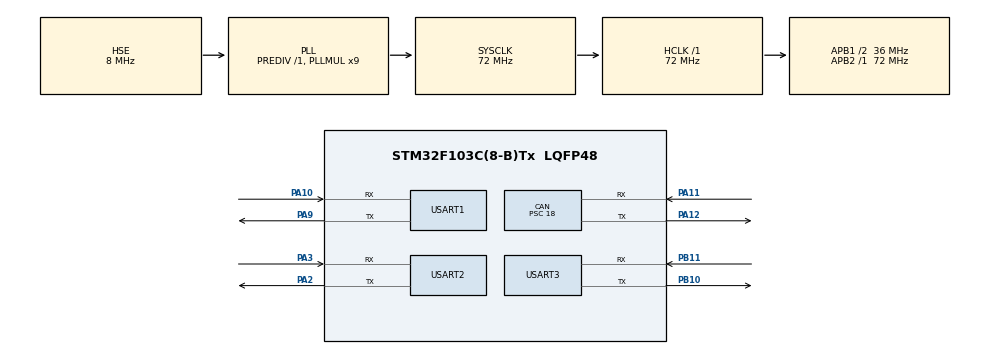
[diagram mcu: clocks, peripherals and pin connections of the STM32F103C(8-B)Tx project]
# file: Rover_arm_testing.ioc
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CAN.BS1=CAN_BS1_2TQ
CAN.CalculateBaudRate=500000
CAN.CalculateTimeBit=2000
CAN.CalculateTimeQuantum=500.0
CAN.Prescaler=18
Dma.Request0=USART1_RX
Dma.Request1=USART1_TX
Dma.Request2=USART2_RX
Dma.Request3=USART2_TX
Dma.Request4=USART3_RX
Dma.Request5=USART3_TX
Dma.USART1_RX.0.Direction=DMA_PERIPH_TO_MEMORY
Dma.USART1_RX.0.Instance=DMA1_Channel5
Dma.USART1_RX.0.MemDataAlignment=DMA_MDATAALIGN_BYTE
Dma.USART1_RX.0.MemInc=DMA_MINC_ENABLE
Dma.USART1_RX.0.Mode=DMA_NORMAL
Dma.USART1_RX.0.PeriphDataAlignment=DMA_PDATAALIGN_BYTE
Dma.USART1_RX.0.PeriphInc=DMA_PINC_DISABLE
Dma.USART1_RX.0.Priority=DMA_PRIORITY_LOW
Dma.USART1_TX.1.Direction=DMA_MEMORY_TO_PERIPH
Dma.USART1_TX.1.Instance=DMA1_Channel4
Dma.USART1_TX.1.MemDataAlignment=DMA_MDATAALIGN_BYTE
Dma.USART1_TX.1.MemInc=DMA_MINC_ENABLE
Dma.USART1_TX.1.Mode=DMA_NORMAL
Dma.USART1_TX.1.PeriphDataAlignment=DMA_PDATAALIGN_BYTE
Dma.USART1_TX.1.PeriphInc=DMA_PINC_DISABLE
Dma.USART1_TX.1.Priority=DMA_PRIORITY_LOW
Dma.USART2_RX.2.Direction=DMA_PERIPH_TO_MEMORY
Dma.USART2_RX.2.Instance=DMA1_Channel6
Dma.USART2_RX.2.MemDataAlignment=DMA_MDATAALIGN_BYTE
Dma.USART2_RX.2.MemInc=DMA_MINC_ENABLE
Dma.USART2_RX.2.Mode=DMA_NORMAL
Dma.USART2_RX.2.PeriphDataAlignment=DMA_PDATAALIGN_BYTE
Dma.USART2_RX.2.PeriphInc=DMA_PINC_DISABLE
Dma.USART2_RX.2.Priority=DMA_PRIORITY_LOW
Dma.USART2_TX.3.Direction=DMA_MEMORY_TO_PERIPH
Dma.USART2_TX.3.Instance=DMA1_Channel7
Dma.USART2_TX.3.MemDataAlignment=DMA_MDATAALIGN_BYTE
Dma.USART2_TX.3.MemInc=DMA_MINC_ENABLE
Dma.USART2_TX.3.Mode=DMA_NORMAL
Dma.USART2_TX.3.PeriphDataAlignment=DMA_PDATAALIGN_BYTE
Dma.USART2_TX.3.PeriphInc=DMA_PINC_DISABLE
Dma.USART2_TX.3.Priority=DMA_PRIORITY_LOW
Dma.USART3_RX.4.Direction=DMA_PERIPH_TO_MEMORY
Dma.USART3_RX.4.Instance=DMA1_Channel3
Dma.USART3_RX.4.MemDataAlignment=DMA_MDATAALIGN_BYTE
Dma.USART3_RX.4.MemInc=DMA_MINC_ENABLE
Dma.USART3_RX.4.Mode=DMA_NORMAL
Dma.USART3_RX.4.PeriphDataAlignment=DMA_PDATAALIGN_BYTE
Dma.USART3_RX.4.PeriphInc=DMA_PINC_DISABLE
Dma.USART3_RX.4.Priority=DMA_PRIORITY_LOW
Dma.USART3_TX.5.Direction=DMA_MEMORY_TO_PERIPH
Dma.USART3_TX.5.Instance=DMA1_Channel2
Dma.USART3_TX.5.MemDataAlignment=DMA_MDATAALIGN_BYTE
Dma.USART3_TX.5.MemInc=DMA_MINC_ENABLE
Dma.USART3_TX.5.Mode=DMA_NORMAL
Dma.USART3_TX.5.PeriphDataAlignment=DMA_PDATAALIGN_BYTE
Dma.USART3_TX.5.PeriphInc=DMA_PINC_DISABLE
Dma.USART3_TX.5.Priority=DMA_PRIORITY_LOW
Mcu.Family=STM32F1
Mcu.Name=STM32F103C(8-B)Tx
Mcu.Package=LQFP48
NVIC.CAN1_RX1_IRQn=true\:0\:0\:false\:false\:true\:true\:true\:true
NVIC.DMA1_Channel2_IRQn=true\:0\:0\:false\:false\:true\:false\:true\:true
NVIC.DMA1_Channel3_IRQn=true\:0\:0\:false\:false\:true\:false\:true\:true
NVIC.DMA1_Channel4_IRQn=true\:0\:0\:false\:false\:true\:false\:true\:true
NVIC.DMA1_Channel5_IRQn=true\:0\:0\:false\:false\:true\:false\:true\:true
NVIC.DMA1_Channel6_IRQn=true\:0\:0\:false\:false\:true\:false\:true\:true
NVIC.DMA1_Channel7_IRQn=true\:0\:0\:false\:false\:true\:false\:true\:true
NVIC.PriorityGroup=NVIC_PRIORITYGROUP_4
NVIC.USART1_IRQn=true\:0\:0\:false\:false\:true\:true\:true\:true
NVIC.USART2_IRQn=true\:0\:0\:false\:false\:true\:true\:true\:true
NVIC.USART3_IRQn=true\:0\:0\:false\:false\:true\:true\:true\:true
PA10.Mode=Asynchronous
PA10.Signal=USART1_RX
PA11.Mode=CAN_Activate
PA11.Signal=CAN_RX
PA12.Mode=CAN_Activate
PA12.Signal=CAN_TX
PA13.Mode=Serial_Wire
PA13.Signal=SYS_JTMS-SWDIO
PA14.Mode=Serial_Wire
PA14.Signal=SYS_JTCK-SWCLK
PA2.Mode=Asynchronous
PA2.Signal=USART2_TX
PA3.Mode=Asynchronous
PA3.Signal=USART2_RX
PA9.Mode=Asynchronous
PA9.Signal=USART1_TX
PB10.Mode=Asynchronous
PB10.Signal=USART3_TX
PB11.Mode=Asynchronous
PB11.Signal=USART3_RX
PD0-OSC_IN.Mode=HSE-External-Oscillator
PD0-OSC_IN.Signal=RCC_OSC_IN
PD1-OSC_OUT.Mode=HSE-External-Oscillator
PD1-OSC_OUT.Signal=RCC_OSC_OUT
ProjectManager.HeapSize=0x200
ProjectManager.StackSize=0x400
ProjectManager.TargetToolchain=STM32CubeIDE
RCC.AHBFreq_Value=72000000
RCC.APB1CLKDivider=RCC_HCLK_DIV2
RCC.APB1Freq_Value=36000000
RCC.APB1TimFreq_Value=72000000
RCC.APB2Freq_Value=72000000
RCC.APB2TimFreq_Value=72000000
RCC.HCLKFreq_Value=72000000
RCC.PLLMUL=RCC_PLL_MUL9
RCC.PLLSourceVirtual=RCC_PLLSOURCE_HSE
RCC.SYSCLKFreq_VALUE=72000000
RCC.SYSCLKSource=RCC_SYSCLKSOURCE_PLLCLK
RCC.USBFreq_Value=72000000
USART1.VirtualMode=VM_ASYNC
USART2.VirtualMode=VM_ASYNC
USART3.VirtualMode=VM_ASYNC
board=custom

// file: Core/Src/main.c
/* USER CODE BEGIN Header */
/**
  ******************************************************************************
  * @file           : main.c
  * @brief          : Main program body
  * @author			: Adham Ehab
  * @title			: Rover Arm Testing
  ******************************************************************************
  * @attention
  *
  * Copyright (c) 2025 STMicroelectronics.
  * All rights reserved.
  *
  * This software is licensed under terms that can be found in the LICENSE file
  * in the root directory of this software component.
  * If no LICENSE file comes with this software, it is provided AS-IS.
  *
  ******************************************************************************
  */
/* USER CODE END Header */
#include "main.h"

/* USER CODE BEGIN Includes */

#include "../../roboclaw/roboclaw.h"
#include "string.h"
#include <stdio.h>

/* USER CODE END Includes */

/* USER CODE BEGIN PTD */

#define pulses_per_revolution_encoder 5281
#define pulses_per_revolution_gearbox 28
#define reduction_ratio 188

#define CPR 1200            // Quadrature-decoded counts per revolution of the motor shaft
#define GEAR_RATIO 168      // Gear reduction ratio 168:1

#define gear_ratio 188
#define pulses_per_revolution_gearbox 28
#define reduction_ratio 188
#define angles_id 0x1
#define pi 3.14159265358979

/* USER CODE END PTD */

/* USER CODE BEGIN PM */

uint32_t encoderrrr;

SERIAL_HandleTypeDef* hserial_uart1;
SERIAL_HandleTypeDef* hserial_uart2;
SERIAL_HandleTypeDef* hserial_uart3;
RoboClaw_HandleTypeDef hroboclaw_mc1;
RoboClaw_HandleTypeDef hroboclaw_mc2;
RoboClaw_HandleTypeDef hroboclaw_mc3;

uint8_t motorsSpeeds[8];

ROBOCLAW_StatusTypeDef statusm1;

uint32_t m1_enc_cnt=0;

uint32_t m1a_speed=0;
uint32_t m1b_speed=0;
uint32_t m2a_speed=0;
uint32_t m2b_speed=0;
uint32_t m3a_speed=0;
uint32_t m3b_speed=0;

uint32_t prev_m1a_speed = 0;
uint32_t prev_m1b_speed = 0;
uint32_t prev_m2a_speed = 0;
uint32_t prev_m2b_speed = 0;
uint32_t prev_m3a_speed = 0;
uint32_t prev_m3b_speed = 0;
uint8_t data1=0;
uint8_t data3=0;

uint8_t status1a=0;
uint8_t status1b=0;
uint8_t status2a=0;
uint8_t status2b=0;
uint8_t status3a=0;
uint8_t status3b=0;
bool valid1a;
bool valid1b;
bool valid2a;
bool valid2b;
bool valid3a;
bool valid3b;

uint32_t debug_buff[100];
uint8_t SendMotorRPMs[6];

uint8_t input_min=  0;
uint8_t input_max= 255;
int32_t output_min= 0;
int32_t output_max= 11000;
uint8_t flag;
uint16_t angle_degree=0;
uint8_t m1_speed_buffer[2];

/* USER CODE END PM */

CAN_HandleTypeDef hcan;

UART_HandleTypeDef huart1;
UART_HandleTypeDef huart2;
UART_HandleTypeDef huart3;
DMA_HandleTypeDef hdma_usart1_rx;
DMA_HandleTypeDef hdma_usart1_tx;
DMA_HandleTypeDef hdma_usart2_rx;
DMA_HandleTypeDef hdma_usart2_tx;
DMA_HandleTypeDef hdma_usart3_rx;
DMA_HandleTypeDef hdma_usart3_tx;

void SystemClock_Config(void);
static void MX_GPIO_Init(void);
static void MX_DMA_Init(void);
static void MX_CAN_Init(void);
static void MX_USART1_UART_Init(void);
static void MX_USART2_UART_Init(void);
static void MX_USART3_UART_Init(void);
/* USER CODE BEGIN PFP */

int32_t pulsesPerSecondToRPM(int32_t pulsesPerSecond) {
  int32_t motorRPM = ((pulsesPerSecond * 60.0) / (gear_ratio* pulses_per_revolution_gearbox));
  return motorRPM;
}

uint32_t map_value( uint8_t value, uint8_t input_min, uint8_t input_max,  int32_t output_min, int32_t output_max) {

    // Normalize the input value
    float normalized_value = (float)(value - input_min) / (input_max - input_min);

    // Map the normalized value to the output range
    uint32_t mapped_value = normalized_value * (output_max - output_min) + output_min;

    return mapped_value;
}

/* USER CODE END PFP */

/* USER CODE BEGIN 0 */

float motorRPM;
float outputRPM;

CAN_FilterTypeDef sFilterConfig;
CAN_RxHeaderTypeDef RxHeader;
uint8_t RxData[8] = {64, 64, 64, 64, 64, 64, 0, 0};
uint8_t delayLED;
void HAL_CAN_RxFifo1MsgPendingCallback(CAN_HandleTypeDef *hcan)
{
  HAL_CAN_GetRxMessage(hcan, CAN_RX_FIFO1, &RxHeader, RxData);
}

//transmit
uint16_t readValue;
CAN_TxHeaderTypeDef TxHeader;
uint32_t TxMailbox;
uint8_t TxData[8]="HELLOCAN";

volatile uint8_t MotorSpeedsCmd[5]={0,0,0,0,0};

uint32_t accel    = 10000;    // acceleration in counts/sec^2
uint32_t speed    = 20000;    // speed in counts/sec
uint32_t deccel   = 10000;    // deceleration in counts/sec^2
int32_t position  = 500000;   // target position in encoder counts
uint8_t buffer    = 0;        // 0 = execute immediately, 1 = buffer it

/* USER CODE END 0 */

int main(void)
{

  /* MCU Configuration--------------------------------------------------------*/

  /* Reset of all peripherals, Initializes the Flash interface and the Systick. */

	HAL_Init();

  /* Configure the system clock */
  SystemClock_Config();

  /* Initialize all configured peripherals */
  MX_GPIO_Init();
  MX_DMA_Init();
  MX_CAN_Init();
  MX_USART1_UART_Init();
  MX_USART2_UART_Init();
  MX_USART3_UART_Init();
  /* USER CODE BEGIN 2 */

 /* Initialize RoboClaws */
	hserial_uart1 = serial_init(&huart1);
	hroboclaw_mc1.hserial = hserial_uart1;
	hroboclaw_mc1.packetserial_address = 0x80;

	hserial_uart2 = serial_init(&huart2);
	hroboclaw_mc2.hserial = hserial_uart2;
	hroboclaw_mc2.packetserial_address = 0x82;

	hserial_uart3 = serial_init(&huart3);
	hroboclaw_mc3.hserial = hserial_uart3;
	hroboclaw_mc3.packetserial_address = 0x84;

/* Initialize CAN */
	HAL_CAN_Start(&hcan);
    TxHeader.DLC = 8;  // data length
    TxHeader.IDE = CAN_ID_STD;
    TxHeader.RTR = CAN_RTR_DATA;
    TxHeader.StdId = 0x6A5;  // ID can be between Hex1 and Hex7FF (1-2047 decimal)
	// Configure the filter
	sFilterConfig.FilterActivation = CAN_FILTER_ENABLE;
	sFilterConfig.FilterFIFOAssignment = CAN_FILTER_FIFO1;
	sFilterConfig.FilterMode = CAN_FILTERMODE_IDMASK;
	sFilterConfig.FilterIdHigh = 0x6A5<<5;
	sFilterConfig.FilterIdLow = 0;
	sFilterConfig.FilterMaskIdHigh = 0x7FF<<5; // SET 0 to unfilter
	sFilterConfig.FilterMaskIdLow = 0;
	sFilterConfig.FilterScale = CAN_FILTERSCALE_32BIT;
	HAL_CAN_ConfigFilter(&hcan, &sFilterConfig);
	// Activate the notification
	HAL_CAN_ActivateNotification(&hcan, CAN_IT_RX_FIFO1_MSG_PENDING);

  /* USER CODE END 2 */

  /* Infinite loop */
  /* USER CODE BEGIN WHILE */
  while (1)
  {

	  uint32_t pos;
	  uint8_t status;
	  bool valid;

	  // Get current position
	  pos = ReadEncM1(&hroboclaw_mc3, &status, &valid);

	  if (valid) {
	      // Move 1000 ticks forward
	      SpeedAccelDeccelPositionM1(&hroboclaw_mc3,
	                                 1000, 2000, 1000,
	                                 pos + 1000, 1);

	      HAL_Delay(2000);  // wait for move to complete

	      // Then lock in that new position
	      pos = ReadEncM1(&hroboclaw_mc3, &status, &valid);
	      if (valid) {
	          SpeedAccelDeccelPositionM1(&hroboclaw_mc3,
	                                     1000, 1000, 1000,
	                                     pos, 1);
	      }
	  }
//	  ForwardBackwardM1(&hroboclaw_mc3 , 64);
//	  HAL_Delay(5000);
    /* USER CODE END WHILE */

  }
}

void SystemClock_Config(void)
{
  RCC_OscInitTypeDef RCC_OscInitStruct = {0};
  RCC_ClkInitTypeDef RCC_ClkInitStruct = {0};

  /** Initializes the RCC Oscillators according to the specified parameters
  * in the RCC_OscInitTypeDef structure.
  */
  RCC_OscInitStruct.OscillatorType = RCC_OSCILLATORTYPE_HSE;
  RCC_OscInitStruct.HSEState = RCC_HSE_ON;
  RCC_OscInitStruct.HSEPredivValue = RCC_HSE_PREDIV_DIV1;
  RCC_OscInitStruct.HSIState = RCC_HSI_ON;
  RCC_OscInitStruct.PLL.PLLState = RCC_PLL_ON;
  RCC_OscInitStruct.PLL.PLLSource = RCC_PLLSOURCE_HSE;
  RCC_OscInitStruct.PLL.PLLMUL = RCC_PLL_MUL9;
  if (HAL_RCC_OscConfig(&RCC_OscInitStruct) != HAL_OK)
  {
    Error_Handler();
  }

  /** Initializes the CPU, AHB and APB buses clocks
  */
  RCC_ClkInitStruct.ClockType = RCC_CLOCKTYPE_HCLK|RCC_CLOCKTYPE_SYSCLK
                              |RCC_CLOCKTYPE_PCLK1|RCC_CLOCKTYPE_PCLK2;
  RCC_ClkInitStruct.SYSCLKSource = RCC_SYSCLKSOURCE_PLLCLK;
  RCC_ClkInitStruct.AHBCLKDivider = RCC_SYSCLK_DIV1;
  RCC_ClkInitStruct.APB1CLKDivider = RCC_HCLK_DIV2;
  RCC_ClkInitStruct.APB2CLKDivider = RCC_HCLK_DIV1;

  if (HAL_RCC_ClockConfig(&RCC_ClkInitStruct, FLASH_LATENCY_2) != HAL_OK)
  {
    Error_Handler();
  }
}

static void MX_CAN_Init(void)
{

  hcan.Instance = CAN1;
  hcan.Init.Prescaler = 18;
  hcan.Init.Mode = CAN_MODE_NORMAL;
  hcan.Init.SyncJumpWidth = CAN_SJW_1TQ;
  hcan.Init.TimeSeg1 = CAN_BS1_2TQ;
  hcan.Init.TimeSeg2 = CAN_BS2_1TQ;
  hcan.Init.TimeTriggeredMode = DISABLE;
  hcan.Init.AutoBusOff = DISABLE;
  hcan.Init.AutoWakeUp = DISABLE;
  hcan.Init.AutoRetransmission = DISABLE;
  hcan.Init.ReceiveFifoLocked = DISABLE;
  hcan.Init.TransmitFifoPriority = DISABLE;
  if (HAL_CAN_Init(&hcan) != HAL_OK)
  {
    Error_Handler();
  }

}

static void MX_USART1_UART_Init(void)
{

  huart1.Instance = USART1;
  huart1.Init.BaudRate = 115200;
  huart1.Init.WordLength = UART_WORDLENGTH_8B;
  huart1.Init.StopBits = UART_STOPBITS_1;
  huart1.Init.Parity = UART_PARITY_NONE;
  huart1.Init.Mode = UART_MODE_TX_RX;
  huart1.Init.HwFlowCtl = UART_HWCONTROL_NONE;
  huart1.Init.OverSampling = UART_OVERSAMPLING_16;
  if (HAL_UART_Init(&huart1) != HAL_OK)
  {
    Error_Handler();
  }

}

static void MX_USART2_UART_Init(void)
{

  huart2.Instance = USART2;
  huart2.Init.BaudRate = 115200;
  huart2.Init.WordLength = UART_WORDLENGTH_8B;
  huart2.Init.StopBits = UART_STOPBITS_1;
  huart2.Init.Parity = UART_PARITY_NONE;
  huart2.Init.Mode = UART_MODE_TX_RX;
  huart2.Init.HwFlowCtl = UART_HWCONTROL_NONE;
  huart2.Init.OverSampling = UART_OVERSAMPLING_16;
  if (HAL_UART_Init(&huart2) != HAL_OK)
  {
    Error_Handler();
  }

}

static void MX_USART3_UART_Init(void)
{

  huart3.Instance = USART3;
  huart3.Init.BaudRate = 115200;
  huart3.Init.WordLength = UART_WORDLENGTH_8B;
  huart3.Init.StopBits = UART_STOPBITS_1;
  huart3.Init.Parity = UART_PARITY_NONE;
  huart3.Init.Mode = UART_MODE_TX_RX;
  huart3.Init.HwFlowCtl = UART_HWCONTROL_NONE;
  huart3.Init.OverSampling = UART_OVERSAMPLING_16;
  if (HAL_UART_Init(&huart3) != HAL_OK)
  {
    Error_Handler();
  }

}

static void MX_DMA_Init(void)
{

  /* DMA controller clock enable */
  __HAL_RCC_DMA1_CLK_ENABLE();

  /* DMA interrupt init */
  /* DMA1_Channel2_IRQn interrupt configuration */
  HAL_NVIC_SetPriority(DMA1_Channel2_IRQn, 0, 0);
  HAL_NVIC_EnableIRQ(DMA1_Channel2_IRQn);
  /* DMA1_Channel3_IRQn interrupt configuration */
  HAL_NVIC_SetPriority(DMA1_Channel3_IRQn, 0, 0);
  HAL_NVIC_EnableIRQ(DMA1_Channel3_IRQn);
  /* DMA1_Channel4_IRQn interrupt configuration */
  HAL_NVIC_SetPriority(DMA1_Channel4_IRQn, 0, 0);
  HAL_NVIC_EnableIRQ(DMA1_Channel4_IRQn);
  /* DMA1_Channel5_IRQn interrupt configuration */
  HAL_NVIC_SetPriority(DMA1_Channel5_IRQn, 0, 0);
  HAL_NVIC_EnableIRQ(DMA1_Channel5_IRQn);
  /* DMA1_Channel6_IRQn interrupt configuration */
  HAL_NVIC_SetPriority(DMA1_Channel6_IRQn, 0, 0);
  HAL_NVIC_EnableIRQ(DMA1_Channel6_IRQn);
  /* DMA1_Channel7_IRQn interrupt configuration */
  HAL_NVIC_SetPriority(DMA1_Channel7_IRQn, 0, 0);
  HAL_NVIC_EnableIRQ(DMA1_Channel7_IRQn);

}

static void MX_GPIO_Init(void)
{

  /* GPIO Ports Clock Enable */
  __HAL_RCC_GPIOD_CLK_ENABLE();
  __HAL_RCC_GPIOA_CLK_ENABLE();
  __HAL_RCC_GPIOB_CLK_ENABLE();

}

void Error_Handler(void)
{
  __disable_irq();
  while (1)
  {
  }
}
